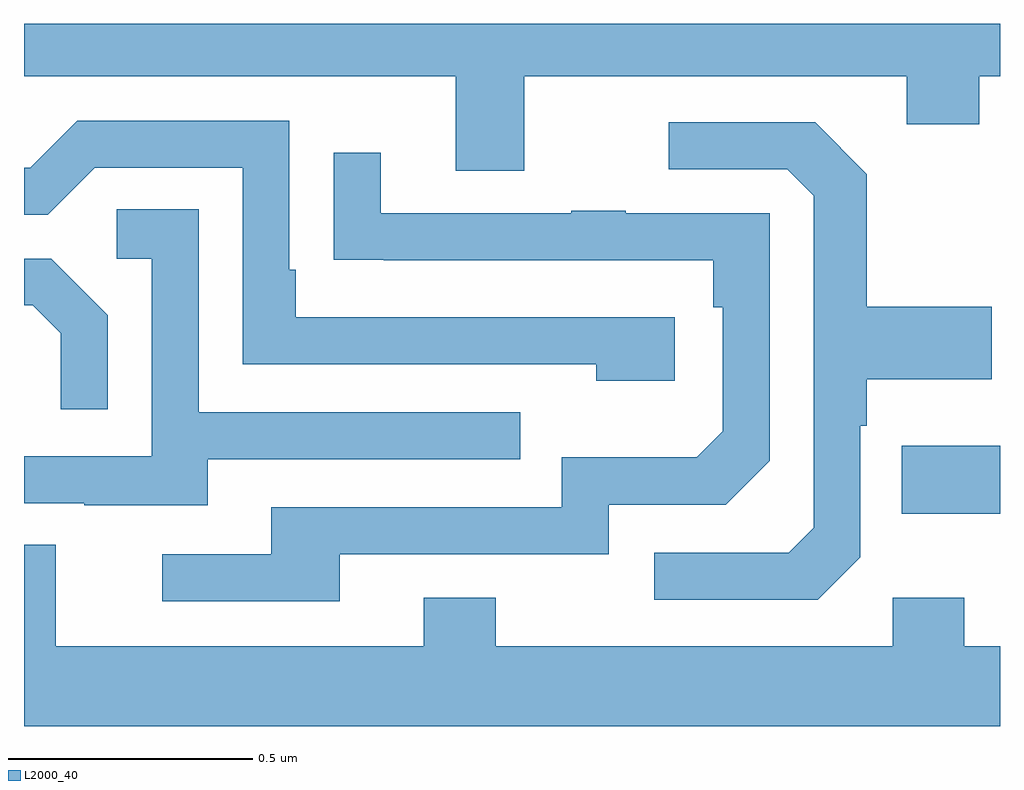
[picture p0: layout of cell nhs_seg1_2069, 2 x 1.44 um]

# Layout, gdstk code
import gdstk
lib = gdstk.Library(unit=1e-6, precision=1e-09)
def R(c, l, rs):  # rectangles x0, y0, x1, y1
    for r in rs: c.add(gdstk.rectangle(r[:2], r[2:], *l))
def P(c, l, *ps):  # polygons
    for p in ps: c.add(gdstk.Polygon(p, *l))
L2000_40 = (2000, 40)

nhs_seg1_2069 = lib.new_cell('nhs_seg1_2069')
R(nhs_seg1_2069, L2000_40, [(138.799,524.195,139,524.335)])
P(nhs_seg1_2069, L2000_40, [(138.025,525.092),(138.809,525.092),(138.809,524.993),(138.957,524.993),(138.957,525.092),(139,525.092),(139,525.199),(137,525.199),(137,525.092),(137.885,525.092),(137.885,524.898),(138.025,524.898)],
  [(138.334,524.598),(137.557,524.598),(137.557,524.695),(137.544,524.695),(137.544,525),(137.109,525),(137.013,524.904),(137,524.904),(137,524.808),(137.049,524.808),(137.145,524.904),(137.448,524.904),(137.448,524.502),(138.173,524.502),(138.173,524.468),(138.334,524.468)],
  [(138.714,524.106),(138.714,524.375),(138.727,524.375),(138.727,524.471),(138.983,524.471),(138.983,524.619),(138.727,524.619),(138.727,524.891),(138.621,524.997),(138.321,524.997),(138.321,524.901),(138.564,524.901),(138.618,524.847),(138.618,524.166),(138.567,524.115),(138.291,524.115),(138.291,524.019),(138.627,524.019)],
  [(137.647,524.112),(138.198,524.112),(138.198,524.214),(138.438,524.214),(138.528,524.304),(138.528,524.811),(138.233,524.811),(138.233,524.816),(138.121,524.816),(138.121,524.811),(137.731,524.811),(137.731,524.935),(137.635,524.935),(137.635,524.716),(137.737,524.716),(137.737,524.715),(138.412,524.715),(138.412,524.618),(138.432,524.618),(138.432,524.364),(138.379,524.311),(138.102,524.311),(138.102,524.208),(137.507,524.208),(137.507,524.112),(137.283,524.112),(137.283,524.016),(137.647,524.016)],
  [(137.377,524.307),(138.017,524.307),(138.017,524.403),(137.358,524.403),(137.358,524.819),(137.19,524.819),(137.19,524.718),(137.262,524.718),(137.262,524.313),(137,524.313),(137,524.217),(137.123,524.217),(137.123,524.213),(137.377,524.213)],
  [(137.172,524.602),(137.056,524.718),(137,524.718),(137,524.622),(137.018,524.622),(137.075,524.565),(137.075,524.409),(137.172,524.409)],
  [(139,523.924),(138.927,523.924),(138.927,524.023),(138.78,524.023),(138.78,523.924),(137.967,523.924),(137.967,524.023),(137.819,524.023),(137.819,523.924),(137.065,523.924),(137.065,524.132),(137,524.132),(137,523.76),(139,523.76)])

lib.write_gds('nhs_seg1_2069.gds')
